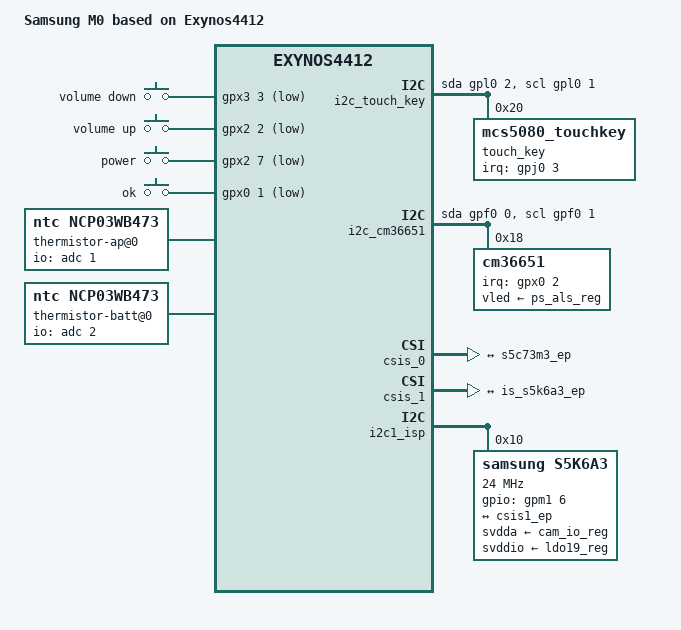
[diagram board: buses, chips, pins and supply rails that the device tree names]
/*
 * Samsung's Exynos4412 based M0 board device tree source
 *
 * Copyright (c) 2012 Samsung Electronics Co., Ltd.
 *		http://www.samsung.com
 *
 * Device tree source file for Samsung's M0 board which is based on
 * Samsung's Exynos4412 SoC.
 *
 * This program is free software; you can redistribute it and/or modify
 * it under the terms of the GNU General Public License version 2 as
 * published by the Free Software Foundation.
*/

/include/ "exynos4412-slp_pq.dts"

/ {
	model = "Samsung M0 based on Exynos4412";
	compatible = "samsung,m0", "samsung,exynos4412";

	aliases {
		i2c20 = &i2c_touch_key;
		i2c21 = &i2c_cm36651;
	};

	pinctrl@11400000 {
		vt_cam_id: vt-cam-id {
			samsung,pins = "gpf1-2";
			samsung,pin-function = <2>;
			samsung,pin-pud = <1>;
			samsung,pin-drv = <3>;
		};
	};

	gpio-keys@0 {
		compatible = "gpio-keys";

		key@114 {
			interrupt-parent = <&gpx3>;
			interrupts = <3 0>;
			gpios = <&gpx3 3 1>;
			linux,code = <114>;
			label = "volume down";
			debounce-interval = <10>;
		};

		key@115 {
			interrupt-parent = <&gpx2>;
			interrupts = <2 0>;
			gpios = <&gpx2 2 1>;
			linux,code = <115>;
			label = "volume up";
			debounce-interval = <10>;
		};

		key@116 {
			interrupt-parent = <&gpx2>;
			interrupts = <7 0>;
			gpios = <&gpx2 7 1>;
			linux,code = <116>;
			label = "power";
			debounce-interval = <10>;
			gpio-key,wakeup;
		};

		key@139 {
			interrupt-parent = <&gpx0>;
			interrupts = <1 0>;
			gpios = <&gpx0 1 1>;
			linux,code = <139>;
			label = "ok";
			debounce-interval = <10>;
			gpio-key,wakeup;
		};
	};

	i2c_touch_key: i2c-gpio-3 {
		compatible = "i2c-gpio";
		gpios = <&gpl0 2 0>, <&gpl0 1 0>;
		i2c-gpio,delay-us = <2>;
		#address-cells = <1>;
		#size-cells = <0>;
		status = "okay";

		touch_key@20 {
			compatible = "mcs5080_touchkey";
			reg = <0x20>;
			interrupt-parent = <&gpj0>;
			interrupts = <3 0>;
			key_maxval = <2>;
			linux,code = <0x0000009e	/* KEY_BACK */
				      0x000000a9>;	/* KEY_MENU */
		};
	};

	i2c_cm36651: i2c-gpio-2 {
		compatible = "i2c-gpio";
		gpios = <&gpf0 0 0>, <&gpf0 1 0>;
		i2c-gpio,delay-us = <2>;
		#address-cells = <1>;
		#size-cells = <0>;
		status = "okay";

		cm36651@18 {
			compatible = "cm36651";
			reg = <0x18>;
			interrupt-parent = <&gpx0>;
			interrupts = <2 0>;
			vled-supply = <&ps_als_reg>;
		};
	};

	camera {
		status = "okay";

		pinctrl-names = "default";
		pinctrl-0 = <&cam_port_a_clk_active &cam_port_b_clk_active>;

		fimc_0: fimc@11800000 {
			clock-frequency = <160000000>;
			status = "okay";
		};

		fimc_1: fimc@11810000 {
			clock-frequency = <160000000>;
			status = "okay";
		};

		fimc_2: fimc@11820000 {
			clock-frequency = <160000000>;
			status = "okay";
		};

		fimc_3: fimc@11830000 {
			clock-frequency = <160000000>;
			status = "okay";
		};

		csis_0: csis@11880000 {
			status = "okay";
			vddcore-supply = <&ldo8_reg>;
			vddio-supply = <&ldo10_reg>;
			clock-frequency = <160000000>;
			#address-cells = <1>;
			#size-cells = <0>;

			/* Camera C (3) MIPI CSI-2 (CSIS0) */
			port@3 {
				reg = <3>;
				csis0_ep: endpoint {
					remote-endpoint = <&s5c73m3_ep>;
					data-lanes = <1 2 3 4>;
					samsung,csis-hs-settle = <12>;
					samsung,csis-wclk;
				};
			};
		};

		csis_1: csis@11890000 {
			status = "okay";
			vddcore-supply = <&ldo8_reg>;
			vddio-supply = <&ldo10_reg>;
			clock-frequency = <160000000>;
			#address-cells = <1>;
			#size-cells = <0>;

			/* Camera D (4) MIPI CSI-2 (CSIS1) */
			port@4 {
				reg = <4>;
				csis1_ep: endpoint {
					remote-endpoint = <&is_s5k6a3_ep>;
					data-lanes = <1>;
					samsung,csis-hs-settle = <18>;
					samsung,csis-wclk;
				};
			};
		};

		fimc-is@12000000 {
			linux,contiguous-region = <&fimc_mem>;
			status = "okay";
			pinctrl-0 = <&fimc_is_uart>;
			pinctrl-names = "default";

			fimc_lite_0: fimc-lite@12390000 {
				status = "okay";
			};

			fimc_lite_1: fimc-lite@123A0000 {
				status = "okay";
			};

			i2c1_isp: i2c-isp@12140000 {
				pinctrl-0 = <&fimc_is_i2c1>;
				pinctrl-names = "default";

				s5k6a3@10 {
					compatible = "samsung,s5k6a3";
					reg = <0x10>;
					svdda-supply = <&cam_io_reg>;
					svddio-supply = <&ldo19_reg>;
					gpios = <&gpm1 6 0>;
					pinctrl-names = "default";
					pinctrl-0 = <&vt_cam_id>;
					clocks = <&camera 1>; /* CAM_B_CLKOUT */
					clock-names = "extclk";
					clock-frequency = <24000000>;
					port {
						is_s5k6a3_ep: endpoint {
							remote-endpoint = <&csis1_ep>;
							data-lanes = <1>;
						};
					};
				};
			};
		};
	};

	cpufreq {
		freq_table = <1400000 1300000 1200000 1100000 1000000
			     900000 800000 700000 600000 500000 400000 300000
			     200000>;
	};

	thermistor-ap@0 {
		compatible = "ntc,ncp03wb473";
		status = "ok";
		pullup-uv = <1800000>;
		pullup-ohm = <100000>;
		pulldown-ohm = <100000> ;
		io-channels = <&adc 1>;
	};

	thermistor-batt@0 {
		compatible = "ntc,ncp03wb473";
		status = "ok";
		pullup-uv = <1800000>;
		pullup-ohm = <100000>;
		pulldown-ohm = <100000> ;
		io-channels = <&adc 2>;
	};

	rtc@10070000 {
		status = "okay";
	};
};
